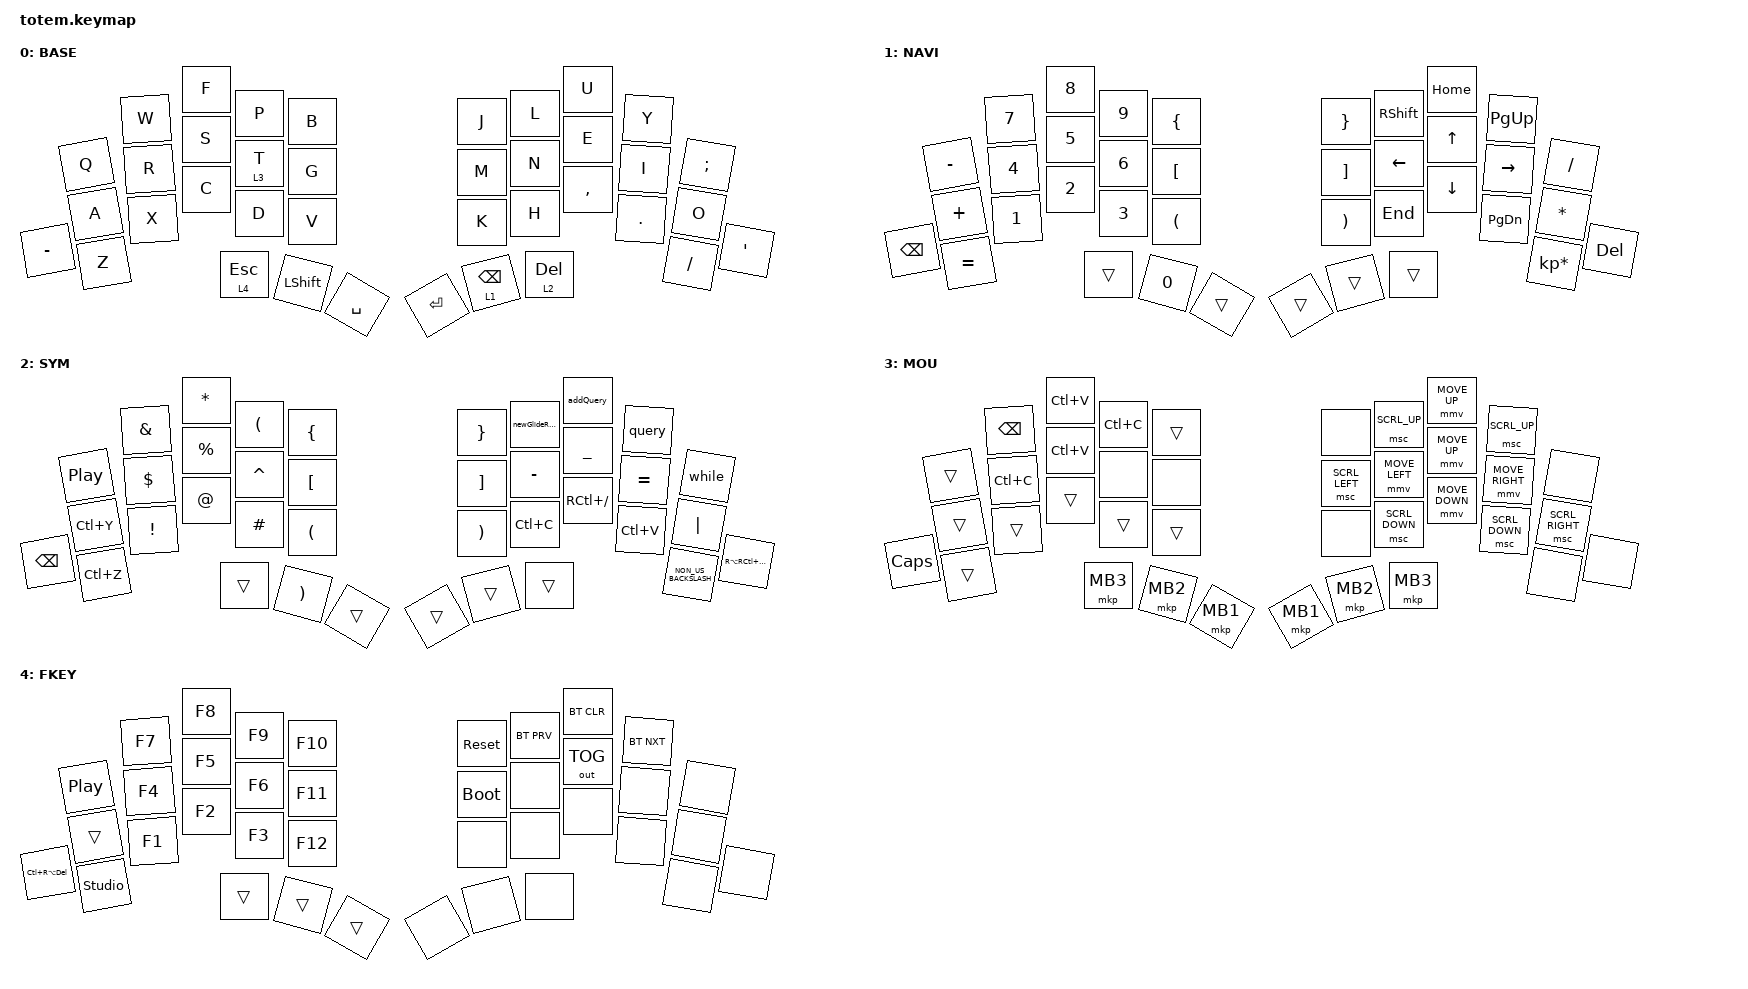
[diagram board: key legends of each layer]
//
//                                                        ▀▀▀▀▀     ▀▀▀▀▀          ▀▀█▀▀
//                                                        ▄▀▀▀▄  ▄  ▄▀▀▀▄  ▄  ▄▀▀▀▄  █  ▄▀▀▀▄
//                                                        █   █  █  █   █  █  █   █  █  █   █
//                                                         ▀▀▀   █   ▀▀▀   █   ▀▀▀   ▀   ▀▀▀
//                                                               █      ▄▄▄█▄▄▄    █   █  
//                                                               ▀      █  █  █     █▄█
//                                                             ▀▀▀▀▀    █  █  █      ▀
//                                                                      ▀  ▀  ▀
//
// ▄▄▄▄▄▄▄▄▄▄▄▄▄▄▄▄▄▄▄▄▄▄▄▄▄▄▄▄▄▄▄▄▄▄▄▄▄▄▄▄▄▄▄▄▄▄▄▄▄▄▄▄▄▄▄▄▄▄▄▄▄▄▄▄▄▄▄▄▄▄▄▄▄▄▄▄▄▄▄▄▄▄▄▄▄▄▄▄▄▄▄▄▄▄▄▄▄▄▄▄▄▄▄▄▄▄▄▄▄▄▄▄▄▄▄▄▄▄▄▄▄▄▄▄▄▄▄▄▄▄▄▄▄▄▄▄▄▄▄▄▄▄▄▄▄▄▄▄▄

#include <behaviors.dtsi>
#include <dt-bindings/zmk/bt.h>
#include <dt-bindings/zmk/keys.h>
#include <dt-bindings/zmk/outputs.h>
#include <dt-bindings/zmk/pointing.h>

#define BASE 0
#define NAV  1
#define SYM  2
#define MOU  3
#define FKEY 4
#define TVP2 5

&mt {
    quick-tap-ms = <100>;
    global-quick-tap;
    flavor = "tap-preferred";
    tapping-term-ms = <170>;
};

/ {
    combos {
        compatible = "zmk,combos";

        ctrl {
            bindings = <&kp LCTRL>;
            key-positions = <13 3>;
        };

        leftalt {
            bindings = <&kp LEFT_ALT>;
            key-positions = <12 2>;
        };

        leftwindow {
            bindings = <&kp LEFT_GUI>;
            key-positions = <0 10>;
        };

        rctrl {
            bindings = <&kp RCTRL>;
            key-positions = <6 16>;
        };

        ralt {
            bindings = <&kp RIGHT_ALT>;
            key-positions = <7 17>;
        };

        rwindow {
            bindings = <&kp RIGHT_GUI>;
            key-positions = <9 19>;
        };

        tab {
            bindings = <&kp TAB>;
            key-positions = <1 11>;
        };

        capsword {
            bindings = <&caps_word>;
            key-positions = <8 18>;
        };
    };

    macros {
        gif: gif {
            label = "giphy";
            compatible = "zmk,behavior-macro";
            #binding-cells = <0>;
            bindings =
                <&macro_press>,
                <&kp LSHFT>,
                <&macro_tap>,
                <&kp N2>,
                <&macro_release>,
                <&kp LSHFT>,
                <&macro_tap>,
                <&kp G &kp I &kp F>;
        };

        newGlideRecord: newGlideRecord {
            compatible = "zmk,behavior-macro";
            #binding-cells = <0>;
            bindings = <&kp SPACE &kp EQUAL &kp SPACE &kp N &kp E &kp W &kp LS(G) &kp L &kp I &kp D &kp E &kp LS(R) &kp E &kp C &kp O &kp R &kp D &kp LPAR &kp SQT>;
            label = "NEWGLIDERECORD";
        };

        addQuery: addQuery {
            compatible = "zmk,behavior-macro";
            #binding-cells = <0>;
            bindings = <&kp DOT &kp A &kp D &kp D &kp LS(Q) &kp U &kp E &kp R &kp Y &kp LPAR &kp SQT>;
            label = "ADDQUERY";
        };

        query: query {
            compatible = "zmk,behavior-macro";
            #binding-cells = <0>;
            bindings = <&kp DOT &kp Q &kp U &kp E &kp R &kp Y &kp LPAR &kp RPAR &kp SEMI>;
            label = "QUERY";
        };

        while: while {
            compatible = "zmk,behavior-macro";
            #binding-cells = <0>;
            bindings = <&kp W &kp H &kp I &kp L &kp E &kp LPAR &kp G &kp R &kp DOT &kp N &kp E &kp X &kp T &kp LPAR &kp RPAR &kp RPAR &kp LBRC>;
            label = "WHILE";
        };
    };

    keymap {
        compatible = "zmk,keymap";

        base_layer {
            label = "BASE";
            bindings = <
           &kp Q  &kp W  &kp F         &kp P           &kp B        &kp J    &kp L            &kp U      &kp Y    &kp SEMI
           &kp A  &kp R  &kp S         &lt 3 T         &kp G        &kp M    &kp N            &kp E      &kp I    &kp O
&kp MINUS  &kp Z  &kp X  &kp C         &kp D           &kp V        &kp K    &kp H            &kp COMMA  &kp DOT  &kp FSLH  &kp SQT
                         &lt 4 ESCAPE  &kp LEFT_SHIFT  &kp SPACE    &kp RET  &lt 1 BACKSPACE  &lt 2 DEL
            >;
        };

        nav_layer {
            label = "NAVI";
            bindings = <
               &kp MINUS  &kp NUMBER_7  &kp NUMBER_8  &kp NUMBER_9  &kp LBRC    &kp RBRC  &kp RIGHT_SHIFT  &kp HOME        &kp PAGE_UP    &kp SLASH
               &kp PLUS   &kp NUMBER_4  &kp NUMBER_5  &kp NUMBER_6  &kp LBKT    &kp RBKT  &kp LEFT         &kp UP_ARROW    &kp RIGHT      &kp ASTRK
&kp BACKSPACE  &kp EQUAL  &kp NUMBER_1  &kp NUMBER_2  &kp NUMBER_3  &kp LPAR    &kp RPAR  &kp END          &kp DOWN_ARROW  &kp PAGE_DOWN  &kp KP_MULTIPLY  &kp DELETE
                                        &trans        &kp NUMBER_0  &trans      &trans    &trans           &trans
            >;
        };

        sim_layer {
            label = "SYM";
            bindings = <
               &kp C_PLAY_PAUSE  &kp AMPERSAND  &kp ASTERISK  &kp LEFT_PARENTHESIS   &kp LEFT_BRACE          &kp RIGHT_BRACE        &newGlideRecord  &addQuery       &query     &while
               &kp LC(Y)         &kp DLLR       &kp PERCENT   &kp CARET              &kp LEFT_BRACKET        &kp RIGHT_BRACKET      &kp MINUS        &kp UNDERSCORE  &kp EQUAL  &kp PIPE
&kp BACKSPACE  &kp LC(Z)         &kp EXCL       &kp AT_SIGN   &kp HASH               &kp LEFT_PARENTHESIS    &kp RIGHT_PARENTHESIS  &kp LC(C)        &kp RC(SLASH)   &kp LC(V)  &kp NON_US_BACKSLASH  &kp RA(RC(DEL))
                                                &trans        &kp RIGHT_PARENTHESIS  &trans                  &trans                 &trans           &trans
            >;
        };

        mouse_layer {
            label = "MOU";
            bindings = <
              &trans  &kp BACKSPACE  &kp LC(V)  &kp LC(C)  &trans      &none           &msc SCRL_UP    &mmv MOVE_UP    &msc SCRL_UP     &none
              &trans  &kp LC(C)      &kp LC(V)  &none      &none       &msc SCRL_LEFT  &mmv MOVE_LEFT  &mmv MOVE_UP    &mmv MOVE_RIGHT  &msc SCRL_RIGHT
&kp CAPSLOCK  &trans  &trans         &trans     &trans     &trans      &none           &msc SCRL_DOWN  &mmv MOVE_DOWN  &msc SCRL_DOWN   &none            &none
                                     &mkp MB3   &mkp MB2   &mkp MB1    &mkp MB1        &mkp MB2        &mkp MB3
            >;
        };

        fkeys {
            label = "FKEY";
            bindings = <
                 &kp C_PLAY_PAUSE  &kp F7  &kp F8  &kp F9  &kp F10    &sys_reset   &bt BT_PRV  &bt BT_CLR    &bt BT_NXT  &none
                 &trans            &kp F4  &kp F5  &kp F6  &kp F11    &bootloader  &none       &out OUT_TOG  &none       &none
&kp LC(RA(DEL))  &studio_unlock    &kp F1  &kp F2  &kp F3  &kp F12    &none        &none       &none         &none       &none  &none
                                           &trans  &trans  &trans     &none        &none       &none
            >;
        };
    };
};
